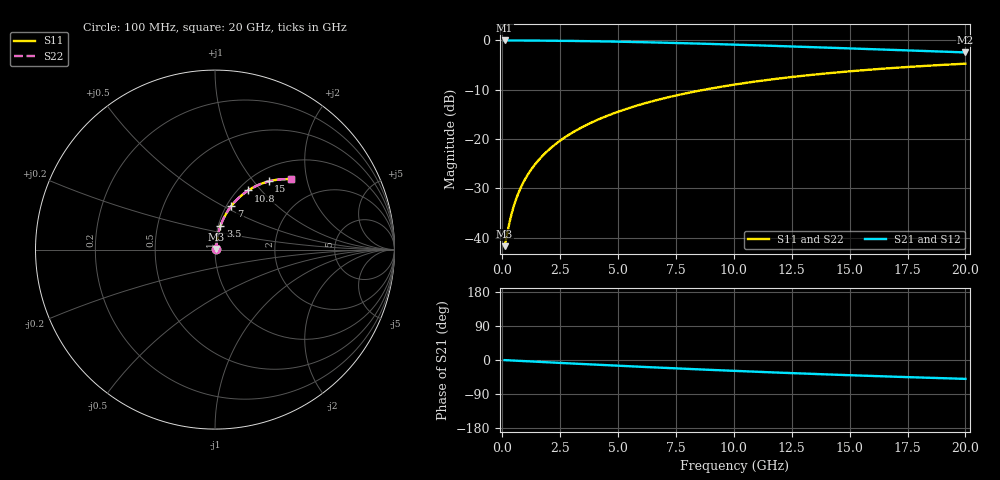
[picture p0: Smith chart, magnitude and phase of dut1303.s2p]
! Touchstone file exported from HFSS 2024.1.0
!  File:  C:/UserFiles/LocalFiles/RDL_TSV_Batchsim/temp_RDL_top_1303_1780364334.aedt
!  Generated:  09:41:56 AM Jun  2, 2026
!  Design:  RDL_top
!  Project:  temp_RDL_top_1303_1780364334
!  Setup:  Setup1
!  Solution:  Sweep
! Variables:
!  dtsv = 10.80580581um
!  hbump = 3um
!  htsv = 50.62um
!  ldown = 100um
!  lrdl = 616.13um
!  p = 40
!  p1 = 56.2um
!  rhole = 1um
!  t = 450um
!  tdown = 3.915915916um
!  trdl = 3.01um
!  wdown = 15.38538539um
!  wrdl = 10um
# GHz S MA R 50.000000
! Terminal data exported
! Port[1] = Box2_T1
! Port[2] = Box2_T2
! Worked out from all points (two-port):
!   200 points, 100 MHz to 20 GHz, reference 50 ohm
!   highest |S21| = -0.06 dB at 100 MHz (marker M1); lowest = -2.5 dB at 20 GHz (marker M2)
!   |S21| within 3 dB of the highest: start of sweep to end of sweep
!   lowest |S11| = -41.7 dB at 100 MHz (marker M3), VSWR 1.02, Z = 50.7 + j0.399 ohm
!   |S11| at or under -10 dB: start of sweep to 8.758 GHz
!   |S22| runs from -41.7 to -4.8 dB; largest |S21 - S12| = 5e-15
!   S11 on the Smith chart (normalised r, x): 100 MHz: 1.01, +0.01; 3.5 GHz: 1.03, +0.27; 7 GHz: 1.05, +0.55; 10.8 GHz: 1.11, +0.85; 15 GHz: 1.20, +1.20; 20 GHz: 1.38, +1.62
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0.1  0.008234 28.5  0.9928 -0.3  0.9928 -0.3  0.008234 28.5
! Gamma 0 0 0 0
! Port Impedance 50 0 50 0
0.3  0.01394 57.6  0.9926 -0.9  0.9926 -0.9  0.01394 57.6
0.4  0.01744 63.9  0.9924 -1.3  0.9924 -1.3  0.01744 63.9
0.6  0.02476 70.6  0.992 -1.9  0.992 -1.9  0.02476 70.6
0.7  0.02849 72.6  0.9918 -2.2  0.9918 -2.2  0.02849 72.6
0.9  0.03599 75.1  0.9913 -2.8  0.9913 -2.8  0.03599 75.1
1.2  0.04728 77.1  0.9904 -3.7  0.9904 -3.7  0.04728 77.1
1.7  0.06612 78.4  0.9886 -5.3  0.9886 -5.3  0.06612 78.4
2.2  0.08496 78.5  0.9864 -6.8  0.9864 -6.8  0.08496 78.5
2.8  0.1075 78.1  0.9831 -8.6  0.9831 -8.6  0.1075 78.1
3.5  0.1336 77.1  0.9783 -10.7  0.9783 -10.7  0.1336 77.1
4.2  0.1595 75.8  0.9726 -12.8  0.9726 -12.8  0.1595 75.8
5  0.1886 74.1  0.9652 -15.1  0.9652 -15.1  0.1886 74.1
6.8  0.2519 70.0  0.945 -20.2  0.945 -20.2  0.2519 70.0
7  0.2587 69.6  0.9426 -20.8  0.9426 -20.8  0.2587 69.5
8.5  0.308 66.0  0.9228 -24.8  0.9228 -24.8  0.308 66.0
10.1  0.3572 62.3  0.8998 -28.9  0.8998 -28.9  0.3572 62.3
10.8  0.3775 60.7  0.8894 -30.6  0.8894 -30.6  0.3775 60.7
13.4  0.4465 55.1  0.8496 -36.7  0.8496 -36.7  0.4464 55.1
15  0.4838 51.8  0.825 -40.2  0.825 -40.2  0.4838 51.8
16.7  0.5195 48.5  0.7992 -43.6  0.7992 -43.6  0.5195 48.5
20  0.5782 42.6  0.7515 -49.8  0.7515 -49.8  0.5781 42.6
